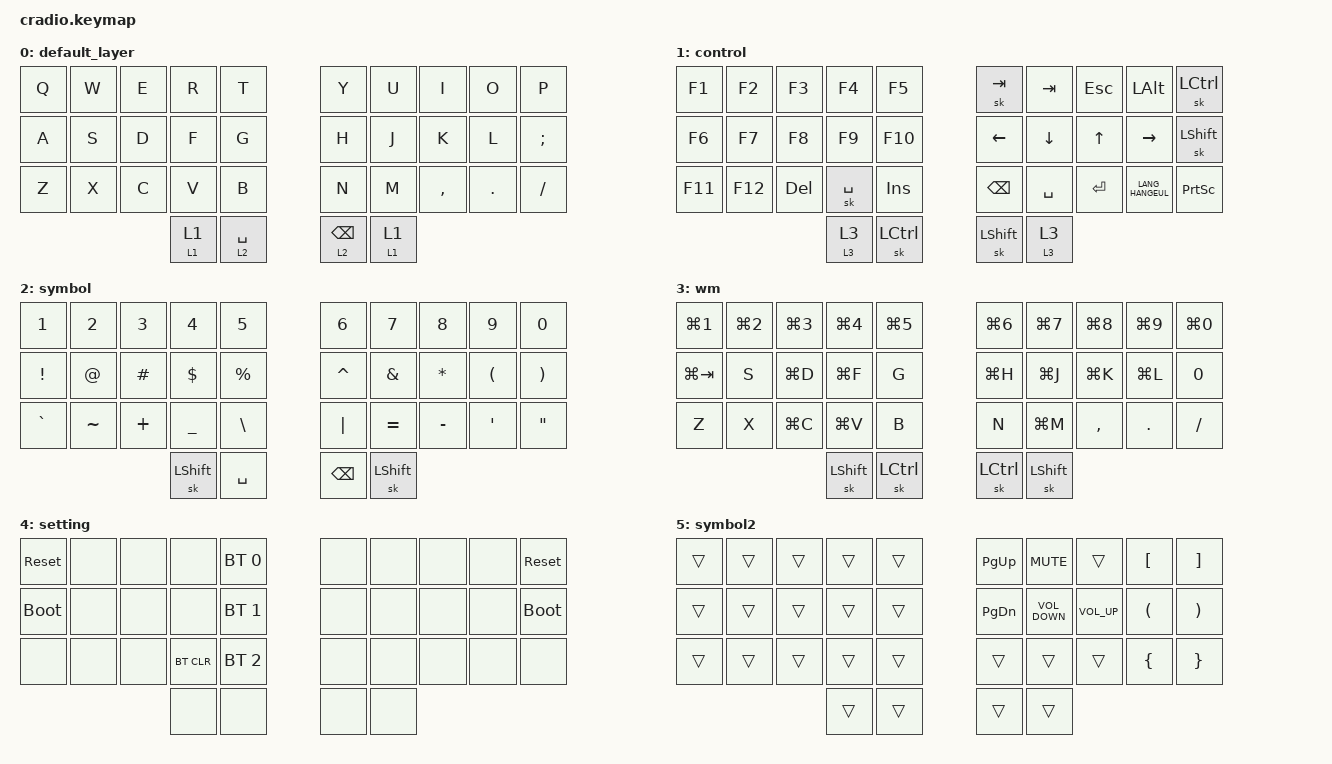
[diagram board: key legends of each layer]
// Copyright (c) 2022 The ZMK Contributors
// SPDX-License-Identifier: MIT

#include <behaviors.dtsi>
#include <dt-bindings/zmk/bt.h>
#include <dt-bindings/zmk/keys.h>

// Home row mods macro

#define HRML(k1,k2,k3,k4) &ht LSHFT k1  &ht LALT k2  &ht LCTRL k3  &ht LGUI k4
#define HRMR(k1,k2,k3,k4) &ht RGUI k1  &ht RCTRL k2  &ht RALT k3  &ht RSHFT k4

/ {
    behaviors {
        ht: hold_tap {
            compatible = "zmk,behavior-hold-tap";
            #binding-cells = <2>;
            flavor = "tap-preferred";
            tapping-term-ms = <220>;
            quick-tap-ms = <150>;
            require-prior-idle-ms = <100>;
            bindings = <&kp>, <&kp>;
        };

        lht: lht {
            compatible = "zmk,behavior-hold-tap";
            label = "hold for layer, tap for sticky layer";
            bindings = <&mo>, <&sl>;

            #binding-cells = <2>;
            tapping-term-ms = <220>;
            flavor = "hold-preferred";
            quick-tap-ms = <150>;
            require-prior-idle-ms = <100>;
        };

        lsk: lsk {
            compatible = "zmk,behavior-hold-tap";
            label = "hold for layer, tap for sticky key";
            bindings = <&mo>, <&sk>;

            #binding-cells = <2>;
            tapping-term-ms = <220>;
            quick-tap-ms = <150>;
            require-prior-idle-ms = <100>;
            flavor = "balanced";
        };

        l_in_td: l_in_td {
            compatible = "zmk,behavior-tap-dance";
            label = "L_IN_TD";
            #binding-cells = <0>;
            bindings = <&lt 2 SPACE>, <&kp SPACE>;
        };

        r_in_td: r_in_td {
            compatible = "zmk,behavior-tap-dance";
            label = "R_IN_TD";
            #binding-cells = <0>;
            bindings = <&lt 2 BACKSPACE>, <&kp BACKSPACE>;
        };

        l_out_td: l_out_td {
            compatible = "zmk,behavior-tap-dance";
            label = "L_OUT_TD";
            #binding-cells = <0>;
            bindings = <&lt 1 LEFT_GUI>, <&lht 5 5>;
        };

        r_out_td: r_out_td {
            compatible = "zmk,behavior-tap-dance";
            label = "R_OUT_TD";
            #binding-cells = <0>;
            bindings = <&lt 1 LEFT_GUI>, <&lht 5 5>;
        };

        lt_mk2: lt_mk2 {
            compatible = "zmk,behavior-hold-tap";
            label = "balanced &lt";
            bindings = <&mo>, <&kp>;

            #binding-cells = <2>;
            tapping-term-ms = <200>;
            flavor = "hold-preferred";
        };
    };

    conditional_layers { compatible = "zmk,conditional-layers"; };

    combos {
        compatible = "zmk,combos";

        home {
            bindings = <&to 0>;
            key-positions = <30 33>;
            layers = <1 5 2 5>;
        };

        setting {
            bindings = <&mo 4>;
            key-positions = <30 31 32 33>;
            layers = <0>;
        };

        meta_l {
            bindings = <&mo 5>;
            key-positions = <30 31>;
        };

        meta_r {
            bindings = <&mo 5>;
            key-positions = <32 33>;
        };
    };

    macros {
        lm: new_macro {
            compatible = "zmk,behavior-macro-two-param";
            #binding-cells = <2>;
            bindings =
                <&macro_param_1to1>,
                <&macro_press>,
                <&mo MACRO_PLACEHOLDER &macro_param_2to1>,
                <&macro_press>,
                <&kp MACRO_PLACEHOLDER>,
                <&macro_pause_for_release>,
                <&macro_param_2to1>,
                <&macro_release>,
                <&kp MACRO_PLACEHOLDER &macro_param_1to1>,
                <&macro_release>,
                <&mo MACRO_PLACEHOLDER>;

            label = "NEW_MACRO";
        };

        slm: slm {
            compatible = "zmk,behavior-macro-two-param";
            #binding-cells = <2>;
            bindings =
                <&macro_param_1to1>,
                <&macro_press>,
                <&mo MACRO_PLACEHOLDER &macro_param_2to1>,
                <&macro_press>,
                <&sk MACRO_PLACEHOLDER>,
                <&macro_pause_for_release>,
                <&macro_param_2to1>,
                <&macro_release>,
                <&sk MACRO_PLACEHOLDER &macro_param_1to1>,
                <&macro_release>,
                <&mo MACRO_PLACEHOLDER>;

            label = "SLM";
        };
    };

    keymap {
        compatible = "zmk,keymap";

        default_layer {
            bindings = <
&kp Q  &kp W  &kp E  &kp R     &kp T              &kp Y                &kp U     &kp I      &kp O    &kp P
&kp A  &kp S  &kp D  &kp F     &kp G              &kp H                &kp J     &kp K      &kp L    &kp SEMICOLON
&kp Z  &kp X  &kp C  &kp V     &kp B              &kp N                &kp M     &kp COMMA  &kp DOT  &kp FSLH
                     &lht 1 1  &lt_mk2 2 SPACE    &lt_mk2 2 BACKSPACE  &lht 1 1
            >;
        };

        control {
            bindings = <
&kp F1   &kp F2   &kp F3      &kp F4     &kp F5              &sk TAB         &kp TAB    &kp ESCAPE  &kp LEFT_ALT      &sk LEFT_CONTROL
&kp F6   &kp F7   &kp F8      &kp F9     &kp F10             &kp LEFT        &kp DOWN   &kp UP      &kp RIGHT         &sk LEFT_SHIFT
&kp F11  &kp F12  &kp DELETE  &sk SPACE  &kp INSERT          &kp BACKSPACE   &kp SPACE  &kp ENTER   &kp LANG_HANGEUL  &kp PRINTSCREEN
                              &lht 3 3   &sk LEFT_CONTROL    &sk LEFT_SHIFT  &lht 3 3
            >;
        };

        symbol {
            bindings = <
&kp N1           &kp N2     &kp N3    &kp N4          &kp N5           &kp N6         &kp N7          &kp N8        &kp N9                &kp N0
&kp EXCLAMATION  &kp AT     &kp HASH  &kp DOLLAR      &kp PERCENT      &kp CARET      &kp AMPS        &kp ASTERISK  &kp LEFT_PARENTHESIS  &kp RIGHT_PARENTHESIS
&kp GRAVE        &kp TILDE  &kp PLUS  &kp UNDERSCORE  &kp BACKSLASH    &kp PIPE       &kp EQUAL       &kp MINUS     &kp SQT               &kp DOUBLE_QUOTES
                                      &sk LEFT_SHIFT  &kp SPACE        &kp BACKSPACE  &sk LEFT_SHIFT
            >;
        };

        wm {
            bindings = <
&kp LG(N1)   &kp LG(N2)  &kp LG(N3)  &kp LG(N4)      &kp LG(N5)          &kp LG(N6)        &kp LG(N7)      &kp LG(N8)  &kp LG(N9)  &kp LG(N0)
&kp LG(TAB)  &kp S       &kp LG(D)   &kp LG(F)       &kp G               &kp LG(H)         &kp LG(J)       &kp LG(K)   &kp LG(L)   &kp N0
&kp Z        &kp X       &kp LG(C)   &kp LG(V)       &kp B               &kp N             &kp LG(M)       &kp COMMA   &kp DOT     &kp FSLH
                                     &sk LEFT_SHIFT  &sk LEFT_CONTROL    &sk LEFT_CONTROL  &sk LEFT_SHIFT
            >;
        };

        setting {
            bindings = <
&sys_reset   &none  &none  &none       &bt BT_SEL 0    &none  &none  &none  &none  &sys_reset
&bootloader  &none  &none  &none       &bt BT_SEL 1    &none  &none  &none  &none  &bootloader
&none        &none  &none  &bt BT_CLR  &bt BT_SEL 2    &none  &none  &none  &none  &none
                           &none       &none           &none  &none
            >;
        };

        symbol2 {
            bindings = <
&trans  &trans  &trans  &trans  &trans    &kp PAGE_UP    &kp K_MUTE         &trans           &kp LEFT_BRACKET      &kp RIGHT_BRACKET
&trans  &trans  &trans  &trans  &trans    &kp PAGE_DOWN  &kp C_VOLUME_DOWN  &kp C_VOLUME_UP  &kp LEFT_PARENTHESIS  &kp RIGHT_PARENTHESIS
&trans  &trans  &trans  &trans  &trans    &trans         &trans             &trans           &kp LEFT_BRACE        &kp RIGHT_BRACE
                        &trans  &trans    &trans         &trans
            >;
        };
    };
};
